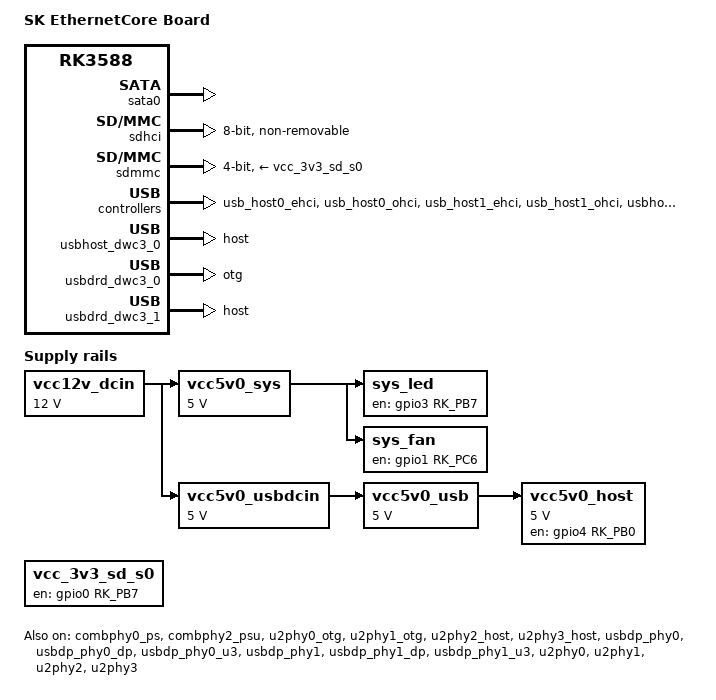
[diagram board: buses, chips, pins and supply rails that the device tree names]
// SPDX-License-Identifier: (GPL-2.0+ OR MIT)
/*
* Copyright (c) 2025 Sergey Kharenko
* Copyright (c) 2021 Rockchip Electronics Co., Ltd.
*/

/dts-v1/;
#include "rk3588.dtsi"
#include "rk3588-u-boot.dtsi"
#include <dt-bindings/input/input.h>

/ {
	model = "SK EthernetCore Board";
	compatible = "sk,ethercore", "rockchip,rk3588";

    aliases {
		mmc0 = &sdhci;
        sata0 = &sata0;
	};

	sys_led: sys-led {
        u-boot,dm-pre-reloc;
        compatible = "regulator-fixed";
		regulator-name = "sys_led";
        gpio = <&gpio3 RK_PB7 GPIO_ACTIVE_HIGH>;
        enable-active-high;
        regulator-boot-on;
		vin-supply = <&vcc5v0_sys>;
	};

    sys_fan: sys-fan {
        u-boot,dm-pre-reloc;
		compatible = "regulator-fixed";
        regulator-name = "sys_led";
        gpio = <&gpio1 RK_PC6 GPIO_ACTIVE_HIGH>;
        enable-active-high;
        regulator-boot-on;
        vin-supply = <&vcc5v0_sys>;
	};

	vcc12v_dcin: vcc12v-dcin {
        u-boot,dm-pre-reloc;
		compatible = "regulator-fixed";
		regulator-name = "vcc12v_dcin";
		regulator-always-on;
		regulator-boot-on;
		regulator-min-microvolt = <12000000>;
		regulator-max-microvolt = <12000000>;
	};

	vcc5v0_sys: vcc5v0-sys {
        u-boot,dm-pre-reloc;
		compatible = "regulator-fixed";
		regulator-name = "vcc5v0_sys";
		regulator-always-on;
		regulator-boot-on;
		regulator-min-microvolt = <5000000>;
		regulator-max-microvolt = <5000000>;
		vin-supply = <&vcc12v_dcin>;
	};

	vcc5v0_usbdcin: vcc5v0-usbdcin {
        u-boot,dm-pre-reloc;
		compatible = "regulator-fixed";
		regulator-name = "vcc5v0_usbdcin";
		regulator-always-on;
		regulator-boot-on;
		regulator-min-microvolt = <5000000>;
		regulator-max-microvolt = <5000000>;
		vin-supply = <&vcc12v_dcin>;
	};

	vcc5v0_usb: vcc5v0-usb {
        u-boot,dm-pre-reloc;
		compatible = "regulator-fixed";
		regulator-name = "vcc5v0_usb";
		regulator-always-on;
		regulator-boot-on;
		regulator-min-microvolt = <5000000>;
		regulator-max-microvolt = <5000000>;
		vin-supply = <&vcc5v0_usbdcin>;
	};

	vcc5v0_host: vcc5v0-host {
        u-boot,dm-pre-reloc;
		compatible = "regulator-fixed";
		regulator-name = "vcc5v0_host";
		regulator-boot-on;
		regulator-always-on;
		regulator-min-microvolt = <5000000>;
		regulator-max-microvolt = <5000000>;
		enable-active-high;
		gpio = <&gpio4 RK_PB0 GPIO_ACTIVE_HIGH>;
		vin-supply = <&vcc5v0_usb>;
		pinctrl-names = "default";
		pinctrl-0 = <&vcc5v0_host_en>;
	};

	vcc_3v3_sd_s0: vcc-3v3-sd-s0-regulator {
        u-boot,dm-pre-reloc;
		compatible = "regulator-fixed";
		gpio = <&gpio0 RK_PB7 GPIO_ACTIVE_HIGH>;
		pinctrl-names = "default";
		pinctrl-0 = <&sd_s0_pwr>;
		regulator-name = "vcc_3v3_sd_s0";
		enable-active-high;
	};
};

/* sata pm */
&combphy0_ps {
    u-boot,dm-pre-reloc;
	status = "okay";
};

// USB3.1/SATA/PCIe Combo PHY
&combphy2_psu {
    u-boot,dm-pre-reloc;
	status = "okay";
};

&pinctrl {
    u-boot,dm-spl;
	sdmmc {
        u-boot,dm-spl;
		sd_s0_pwr: sd-s0-pwr {
            u-boot,dm-spl;
			rockchip,pins = <0 RK_PB7 RK_FUNC_GPIO &pcfg_pull_up>;
		};
	};

	usb {
        u-boot,dm-spl;
		vcc5v0_host_en: vcc5v0-host-en {
            u-boot,dm-spl;
			rockchip,pins = <4 RK_PB0 RK_FUNC_GPIO &pcfg_pull_none>;
		};
	};
};

&sata0 {
    u-boot,dm-pre-reloc;
	status = "okay";
};

&sdhci {
    u-boot,dm-pre-reloc;
	bus-width = <8>;
	no-sdio;
	no-sd;
	non-removable;
	max-frequency = <200000000>;
	mmc-hs400-1_8v;
	mmc-hs400-enhanced-strobe;
	status = "okay";
};

&sdmmc {
    u-boot,dm-pre-reloc;
	max-frequency = <150000000>;
	no-sdio;
	no-mmc;
	bus-width = <4>;
	cap-mmc-highspeed;
	cap-sd-highspeed;
	disable-wp;
	sd-uhs-sdr104;
	vqmmc-supply = <&vccio_sd_s0>;
	vmmc-supply = <&vcc_3v3_sd_s0>;
	status = "okay";
};

&u2phy0_otg {
    u-boot,dm-pre-reloc;
	//rockchip,typec-vbus-det;
	status = "okay";
};

&u2phy1_otg {
    u-boot,dm-pre-reloc;
	phy-supply = <&vcc5v0_host>;
	status = "okay";
};

&u2phy2_host {
    u-boot,dm-pre-reloc;
	phy-supply = <&vcc5v0_host>;
	status = "okay";
};

&u2phy3_host {
    u-boot,dm-pre-reloc;
	phy-supply = <&vcc5v0_host>;
	status = "okay";
};

&usbdp_phy0 {
    u-boot,dm-pre-reloc;
	rockchip,dp-lane-mux = <2 3>;
    status = "okay";
/*
	orientation-switch;
	svid = <0xff01>;
	sbu1-dc-gpios = <&gpio4 RK_PA6 GPIO_ACTIVE_HIGH>;
	sbu2-dc-gpios = <&gpio4 RK_PA7 GPIO_ACTIVE_HIGH>;

	port {
		#address-cells = <1>;
		#size-cells = <0>;
		usbdp_phy0_orientation_switch: endpoint@0 {
			reg = <0>;
			//remote-endpoint = <&usbc0_orien_sw>;
		};
	
		usbdp_phy0_dp_altmode_mux: endpoint@1 {
			reg = <1>;
			//remote-endpoint = <&dp_altmode_mux>;
		};
	};
*/
};

&usbdp_phy0_dp {
    u-boot,dm-pre-reloc;
	status = "okay";
};

&usbdp_phy0_u3 {
    u-boot,dm-pre-reloc;
	status = "okay";
};

&usbdp_phy1 {
    u-boot,dm-pre-reloc;
	rockchip,dp-lane-mux = <2 3>;
	status = "okay";
};

&usbdp_phy1_dp {
    u-boot,dm-pre-reloc;
	status = "okay";
};

&usbdp_phy1_u3 {
    u-boot,dm-pre-reloc;
	status = "okay";
};

&u2phy0 {
    u-boot,dm-pre-reloc;
	status = "okay";
};

&u2phy1 {
    u-boot,dm-pre-reloc;
	status = "okay";
};

&u2phy2 {
    u-boot,dm-pre-reloc;
	status = "okay";
};

&u2phy3 {
    u-boot,dm-pre-reloc;
	status = "okay";
};

&usb_host0_ehci {
    u-boot,dm-pre-reloc;
	status = "okay";
};

&usb_host0_ohci {
    u-boot,dm-pre-reloc;
	status = "okay";
};

&usb_host1_ehci {
    u-boot,dm-pre-reloc;
	status = "okay";
};

&usb_host1_ohci {
    u-boot,dm-pre-reloc;
	status = "okay";
};

&usb2phy0_grf {
    u-boot,dm-pre-reloc;
};

&usb2phy1_grf {
    u-boot,dm-pre-reloc;
};

&usb2phy2_grf {
    u-boot,dm-pre-reloc;
};

&usb2phy3_grf {
    u-boot,dm-pre-reloc;
};

&usbdpphy0_grf {
    u-boot,dm-pre-reloc;
};

&usbdpphy1_grf {
    u-boot,dm-pre-reloc;
};

/*usb3.1 host2 controller for 5G module*/
&usbhost3_0 {
    u-boot,dm-pre-reloc;
	status = "okay";
};

&usbdrd3_0 {
    u-boot,dm-pre-reloc;
	status = "okay";
};

&usbdrd3_1 {
    u-boot,dm-pre-reloc;
	status = "okay";
};

&usbhost_dwc3_0 {
    u-boot,dm-pre-reloc;
	dr_mode = "host";
	status = "okay";
};

&usbdrd_dwc3_0 {
    u-boot,dm-pre-reloc;
	extcon = <&u2phy0>;
	dr_mode = "otg";
    status = "okay";
};

&usbdrd_dwc3_1 {
    u-boot,dm-pre-reloc;
	dr_mode = "host";
	status = "okay";
};

&vo0_grf {
    u-boot,dm-pre-reloc;
};
